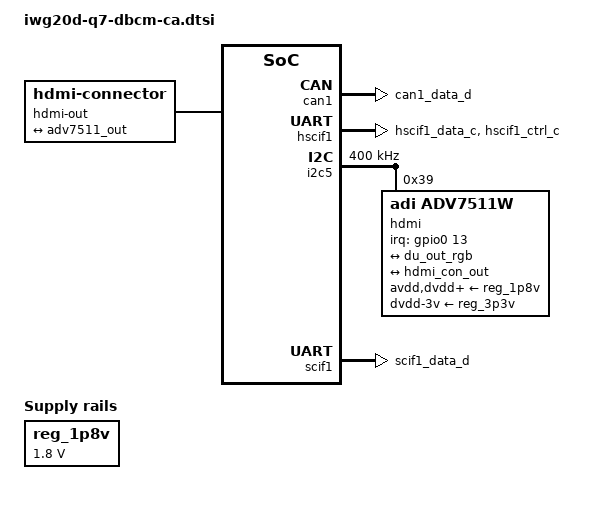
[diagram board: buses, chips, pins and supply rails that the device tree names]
// SPDX-License-Identifier: GPL-2.0
/*
 * Device Tree Source for the iWave-RZ-G1M/N Daughter Board Camera Module
 *
 * Copyright (C) 2017 Renesas Electronics Corp.
 */

/ {
	aliases {
		serial1 = &scif1;
		serial4 = &hscif1;
	};

	cec_clock: cec-clock {
		compatible = "fixed-clock";
		#clock-cells = <0>;
		clock-frequency = <12000000>;
	};

	hdmi-out {
		compatible = "hdmi-connector";
		type = "a";

		port {
			hdmi_con_out: endpoint {
				remote-endpoint = <&adv7511_out>;
			};
		};
	};

	reg_1p8v: regulator-1p8v {
		compatible = "regulator-fixed";
		regulator-name = "1P8V";
		regulator-min-microvolt = <1800000>;
		regulator-max-microvolt = <1800000>;
		regulator-boot-on;
		regulator-always-on;
	};
};

&can1 {
	pinctrl-0 = <&can1_pins>;
	pinctrl-names = "default";

	status = "okay";
};

&du {
	pinctrl-0 = <&du_pins>;
	pinctrl-names = "default";

	ports {
		port@0 {
			endpoint {
				remote-endpoint = <&adv7511_in>;
			};
		};
	};
};

&hscif1 {
	pinctrl-0 = <&hscif1_pins>;
	pinctrl-names = "default";

	uart-has-rtscts;
	status = "okay";
};

&i2c5 {
	status = "okay";
	clock-frequency = <400000>;

	hdmi@39 {
		compatible = "adi,adv7511w";
		reg = <0x39>;
		interrupt-parent = <&gpio0>;
		interrupts = <13 IRQ_TYPE_LEVEL_LOW>;
		clocks = <&cec_clock>;
		clock-names = "cec";

		avdd-supply = <&reg_1p8v>;
		dvdd-supply = <&reg_1p8v>;
		pvdd-supply = <&reg_1p8v>;
		dvdd-3v-supply = <&reg_3p3v>;
		bgvdd-supply = <&reg_1p8v>;

		adi,input-depth = <8>;
		adi,input-colorspace = "rgb";
		adi,input-clock = "1x";

		ports {
			#address-cells = <1>;
			#size-cells = <0>;

			port@0 {
				reg = <0>;
				adv7511_in: endpoint {
					remote-endpoint = <&du_out_rgb>;
				};
			};

			port@1 {
				reg = <1>;
				adv7511_out: endpoint {
					remote-endpoint = <&hdmi_con_out>;
				};
			};
		};
	};
};

&pfc {
	can1_pins: can1 {
		groups = "can1_data_d";
		function = "can1";
	};

	du_pins: du {
		groups = "du_rgb888", "du_sync", "du_oddf", "du_clk_out_0";
		function = "du";
	};

	hscif1_pins: hscif1 {
		groups = "hscif1_data_c", "hscif1_ctrl_c";
		function = "hscif1";
	};

	scif1_pins: scif1 {
		groups = "scif1_data_d";
		function = "scif1";
	};
};

&scif1 {
	pinctrl-0 = <&scif1_pins>;
	pinctrl-names = "default";

	status = "okay";
};
